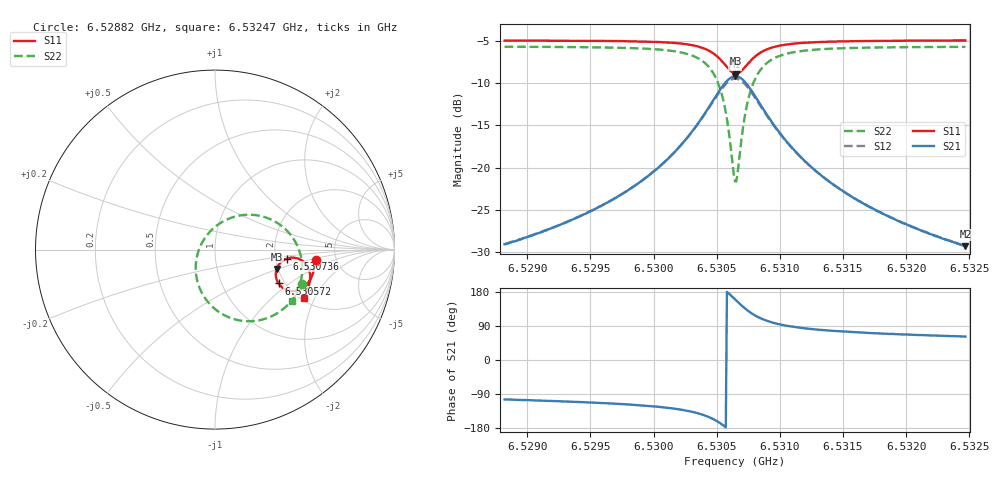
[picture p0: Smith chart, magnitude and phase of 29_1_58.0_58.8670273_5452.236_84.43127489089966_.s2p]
#  HZ  S  RI  R  50.00
! Rohde & Schwarz Vector Network Analyzer
! Rohde-Schwarz,ZNB20-2Port,1311601062101988,3.16
! Created: UTC 3/21/2024, 12:51:36 AM
! freq[Hz]  re:S11  im:S11  re:S21  im:S21  re:S12  im:S12  re:S22  im:S22
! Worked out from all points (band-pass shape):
!   401 points, 6.52882 GHz to 6.53247 GHz, reference 50 ohm
!   highest |S21| = -9.19 dB at 6.530645 GHz (marker M1); lowest = -29.3 dB at 6.53247 GHz (marker M2)
!   |S21| within 3 dB of the highest: 6.530466 GHz to 6.530831 GHz (365.3 kHz wide, 0.00559 % of centre)
!   lowest |S11| = -8.9 dB at 6.530654 GHz (marker M3), VSWR 2.13, Z = 98.4 - j24.3 ohm
!   |S11| at or under -10 dB: nowhere
!   |S22| runs from -21.7 to -5.7 dB; largest |S21 - S12| = 0.015
!   S11 on the Smith chart (normalised r, x): 6.52882 GHz: 3.47, -0.60; 6.530572 GHz: 1.85, -0.83; 6.530736 GHz: 2.31, -0.28; 6.53247 GHz: 2.09, -1.66
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6.5288203e9  0.5608 -0.0592  -0.00857 -0.0341  -0.00926 -0.0339  0.482 -0.1919
6.5294316e9  0.5513 -0.1123  -0.0188 -0.0486  -0.02 -0.0482  0.4494 -0.2536
6.5297692e9  0.5406 -0.146  -0.032 -0.0636  -0.0337 -0.0629  0.415 -0.2983
6.5300429e9  0.5238 -0.1786  -0.0558 -0.0839  -0.0583 -0.0823  0.3609 -0.3453
6.5302618e9  0.4938 -0.2109  -0.1027 -0.1074  -0.1061 -0.1037  0.2664 -0.389
6.5304169e9  0.4445 -0.2306  -0.1819 -0.1148  -0.1847 -0.1069  0.1212 -0.3912
6.5305082e9  0.3932 -0.2224  -0.2624 -0.0828  -0.261 -0.071  -0.0124 -0.3201
6.530572e9  0.3539 -0.1887  -0.3199 -0.0129  -0.312 -0.000985  -0.0943 -0.1905
6.5306268e9  0.3385 -0.1366  -0.3345 0.0832  -0.3216 0.0901  -0.0984 -0.0292
6.530645e9  0.3409 -0.1171  -0.3265 0.1174  -0.313 0.1219  -0.079 0.0254
6.5306541e9  0.3437 -0.1075  -0.3201 0.1339  -0.3064 0.1371  -0.0652 0.0509
6.5306724e9  0.352 -0.0898  -0.3027 0.1642  -0.2894 0.1651  -0.0306 0.0974
6.5307089e9  0.3772 -0.0623  -0.2541 0.2103  -0.2434 0.2075  0.0574 0.1637
6.5307363e9  0.4 -0.0502  -0.213 0.2298  -0.2045 0.2255  0.1289 0.1884
6.5307728e9  0.4296 -0.0447  -0.1607 0.2383  -0.155 0.2337  0.2177 0.1929
6.5308092e9  0.4551 -0.0477  -0.1168 0.2332  -0.1131 0.2293  0.2908 0.1765
6.5309187e9  0.5019 -0.0758  -0.0378 0.1908  -0.0362 0.1889  0.4186 0.0855
6.5310465e9  0.5227 -0.1098  -0.00212 0.1447  -0.00109 0.1439  0.4703 -0.00751
6.5312563e9  0.5301 -0.1503  0.0148 0.0986  0.016 0.0982  0.4863 -0.1036
6.5315391e9  0.5266 -0.1879  0.0188 0.0668  0.0198 0.0666  0.4782 -0.176
6.5318676e9  0.5176 -0.2209  0.0183 0.0477  0.0192 0.0476  0.4617 -0.2275
6.5324697e9  0.4968 -0.2699  0.0162 0.0302  0.0168 0.0301  0.4306 -0.2883
